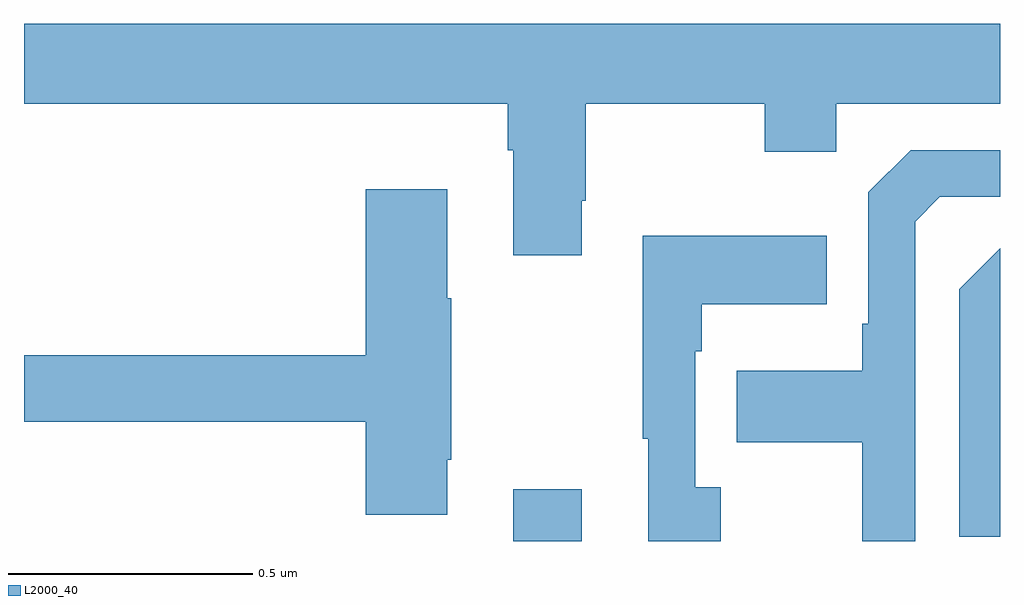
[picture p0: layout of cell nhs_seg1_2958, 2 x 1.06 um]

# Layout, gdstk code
import gdstk
lib = gdstk.Library(unit=1e-6, precision=1e-09)
def R(c, l, rs):  # rectangles x0, y0, x1, y1
    for r in rs: c.add(gdstk.rectangle(r[:2], r[2:], *l))
def P(c, l, *ps):  # polygons
    for p in ps: c.add(gdstk.Polygon(p, *l))
L2000_40 = (2000, 40)

nhs_seg1_2958 = lib.new_cell('nhs_seg1_2958')
R(nhs_seg1_2958, L2000_40, [(149.003,520.199,149.143,520.306)])
P(nhs_seg1_2958, L2000_40, [(149.143,520.897),(149.151,520.897),(149.151,521.096),(149.518,521.096),(149.518,520.997),(149.664,520.997),(149.664,521.096),(150,521.096),(150,521.26),(148,521.26),(148,521.096),(148.991,521.096),(148.991,521),(149.003,521),(149.003,520.785),(149.143,520.785)],
  [(149.826,520.854),(149.877,520.905),(150,520.905),(150,521.001),(149.817,521.001),(149.73,520.914),(149.73,520.645),(149.718,520.645),(149.718,520.549),(149.461,520.549),(149.461,520.402),(149.718,520.402),(149.718,520.199),(149.826,520.199)],
  [(148.867,520.366),(148.875,520.366),(148.875,520.697),(148.867,520.697),(148.867,520.921),(148.7,520.921),(148.7,520.58),(148,520.58),(148,520.444),(148.7,520.444),(148.7,520.254),(148.867,520.254)],
  [(149.428,520.31),(149.376,520.31),(149.376,520.589),(149.389,520.589),(149.389,520.685),(149.645,520.685),(149.645,520.825),(149.268,520.825),(149.268,520.409),(149.279,520.409),(149.279,520.199),(149.428,520.199)],
  [(150,520.8),(149.916,520.716),(149.916,520.209),(150,520.209)])

lib.write_gds('nhs_seg1_2958.gds')
